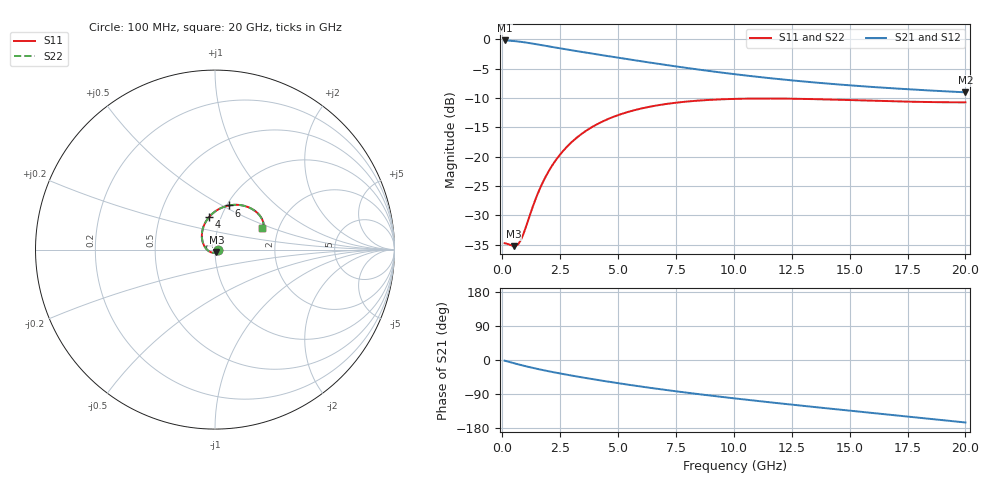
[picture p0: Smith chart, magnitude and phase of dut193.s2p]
! Touchstone file exported from HFSS 2024.1.0
!  File:  C:/UserFiles/LocalFiles/RDL_TSV_Batchsim/temp_RDL_TSV_193_1779442038.aedt
!  Generated:  05:43:12 PM May 22, 2026
!  Design:  RDL_TSV
!  Project:  temp_RDL_TSV_193_1779442038
!  Setup:  Setup1
!  Solution:  Sweep
! Variables:
!  dtsv = 12.81um
!  hbump = 3um
!  htsv = 90.81um
!  ldown = 406.54um
!  lrdl = 167.71um
!  p = 40
!  p1 = 55.22um
!  rhole = 10um
!  subl = 1890.46um
!  t = 450um
!  tdown = 2.43um
!  trdl = 2.99um
!  viad = 10um
!  wdown = 11.89um
!  wrdl = 25.31um
!  xbump = 18um
# GHz S MA R 50.000000
! Terminal data exported
! Port[1] = TM1_1_T1
! Port[2] = TM1_4_T1
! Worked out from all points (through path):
!   200 points, 100 MHz to 20 GHz, reference 50 ohm
!   highest |S21| = -0.17 dB at 100 MHz (marker M1); lowest = -9.0 dB at 20 GHz (marker M2)
!   group delay of S21, straight-line fit = 21.2 ps
!   lowest |S11| = -35.3 dB at 500 MHz (marker M3), VSWR 1.04, Z = 50.8 - j1.53 ohm
!   |S11| at or under -10 dB: start of sweep to end of sweep
!   |S22| runs from -35.3 to -10.1 dB; largest |S21 - S12| = 9.7e-15
!   S11 on the Smith chart (normalised r, x): 100 MHz: 1.04, -0.01; 4 GHz: 0.88, +0.33; 6 GHz: 1.02, +0.54; 20 GHz: 1.64, +0.44
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0.1  0.01824 -10.5  0.9811 -1.7  0.9811 -1.7  0.01824 -10.5
! Gamma 0 0 0 0
! Port Impedance 50 0 50 0
0.5  0.01722 -61.1  0.9702 -8.4  0.9702 -8.4  0.01722 -61.1
0.7  0.01801 -93.3  0.9608 -11.7  0.9608 -11.7  0.01801 -93.2
0.8  0.0194 -109.4  0.9553 -13.2  0.9553 -13.2  0.01939 -109.4
0.9  0.02156 -124.4  0.9495 -14.8  0.9495 -14.8  0.02156 -124.4
1.5  0.04663 177.6  0.9092 -23.3  0.9092 -23.3  0.04661 177.7
1.8  0.06325 161.1  0.888 -27.2  0.888 -27.2  0.06322 161.1
2.1  0.0808 148.3  0.867 -30.9  0.867 -30.9  0.08078 148.3
2.4  0.09861 137.7  0.8468 -34.5  0.8468 -34.5  0.09857 137.7
2.7  0.1162 128.7  0.8274 -37.9  0.8274 -37.9  0.1162 128.7
3.1  0.1389 118.5  0.8027 -42.2  0.8027 -42.2  0.1388 118.5
3.5  0.1602 109.7  0.7792 -46.4  0.7792 -46.4  0.1602 109.7
4  0.1848 100.2  0.7513 -51.5  0.7513 -51.5  0.1847 100.2
4.9  0.2225 86.1  0.7043 -60.2  0.7043 -60.2  0.2224 86.1
6  0.2575 72.7  0.6518 -70.1  0.6518 -70.1  0.2574 72.7
6.8  0.2762 64.7  0.617 -76.9  0.617 -76.9  0.2761 64.7
8.4  0.3002 52.1  0.5562 -89.5  0.5562 -89.5  0.3001 52.0
10.1  0.3115 42.2  0.5038 -101.8  0.5038 -101.8  0.3114 42.2
11.7  0.3134 35.4  0.4644 -112.6  0.4644 -112.6  0.3133 35.4
13.4  0.31 30.3  0.4311 -123.6  0.4311 -123.6  0.3099 30.2
16.7  0.2975 25.1  0.385 -144.3  0.385 -144.3  0.2975 25.1
20  0.2908 24.9  0.354 -164.9  0.354 -164.9  0.2908 24.8
